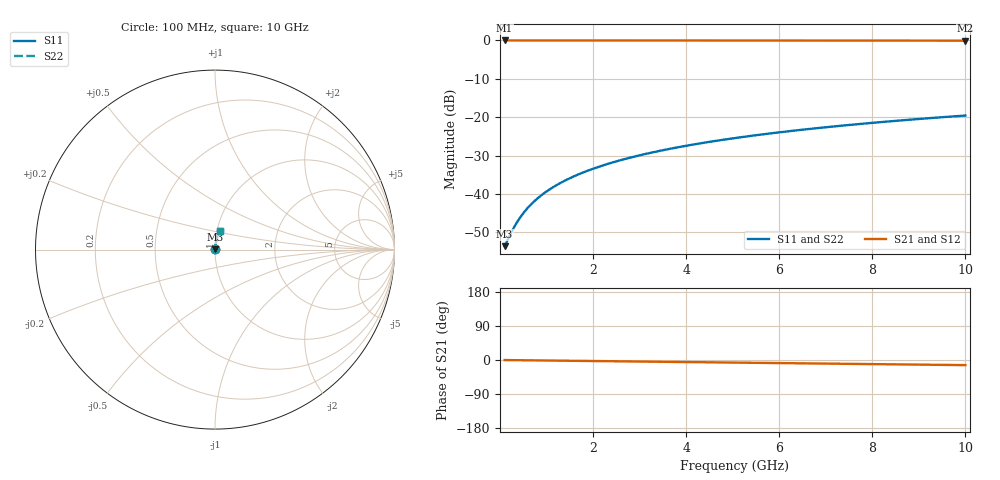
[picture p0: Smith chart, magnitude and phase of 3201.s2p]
# Hz S RI R 50.00
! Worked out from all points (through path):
!   100 points, 100 MHz to 10 GHz, reference 50 ohm
!   highest |S21| = -0.02 dB at 100 MHz (marker M1); lowest = -0.1 dB at 10 GHz (marker M2)
!   group delay of S21, straight-line fit = 3.76 ps
!   lowest |S11| = -53.6 dB at 100 MHz (marker M3), VSWR 1.00, Z = 50.2 + j0.106 ohm
!   |S11| at or under -10 dB: start of sweep to end of sweep
!   |S22| runs from -53.6 to -19.6 dB; largest |S21 - S12| = 0
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1e8  0.0018 0.00106  0.9982 -0.00236  0.9982 -0.00236  0.0018 0.00106
2e8  0.00182 0.00211  0.9982 -0.00472  0.9982 -0.00472  0.00182 0.00211
3e8  0.00184 0.00317  0.9981 -0.00708  0.9981 -0.00708  0.00184 0.00317
4e8  0.00187 0.00423  0.9981 -0.00944  0.9981 -0.00944  0.00187 0.00423
5e8  0.0019 0.00528  0.9981 -0.0118  0.9981 -0.0118  0.0019 0.00528
6e8  0.00193 0.00634  0.998 -0.0142  0.998 -0.0142  0.00193 0.00634
7e8  0.00196 0.0074  0.998 -0.0165  0.998 -0.0165  0.00196 0.0074
9e8  0.00205 0.00951  0.9979 -0.0212  0.9979 -0.0212  0.00205 0.00951
1e9  0.0021 0.0106  0.9978 -0.0236  0.9978 -0.0236  0.0021 0.0106
1.2e9  0.00222 0.0127  0.9976 -0.0283  0.9976 -0.0283  0.00222 0.0127
1.5e9  0.00243 0.0158  0.9974 -0.0354  0.9974 -0.0354  0.00243 0.0158
1.8e9  0.00268 0.019  0.997 -0.0424  0.997 -0.0424  0.00268 0.019
2.1e9  0.00298 0.0222  0.9966 -0.0495  0.9966 -0.0495  0.00298 0.0222
2.5e9  0.00345 0.0264  0.996 -0.0589  0.996 -0.0589  0.00345 0.0264
2.9e9  0.00399 0.0305  0.9953 -0.0683  0.9953 -0.0683  0.00399 0.0305
3.4e9  0.00479 0.0358  0.9942 -0.0801  0.9942 -0.0801  0.00479 0.0358
4.2e9  0.00631 0.0441  0.9921 -0.0988  0.9921 -0.0988  0.00631 0.0441
5.1e9  0.0084 0.0533  0.9893 -0.1199  0.9893 -0.1199  0.0084 0.0533
5.9e9  0.0106 0.0615  0.9864 -0.1385  0.9864 -0.1385  0.0106 0.0615
6.7e9  0.0131 0.0696  0.983 -0.157  0.983 -0.157  0.0131 0.0696
8.4e9  0.0194 0.0864  0.9745 -0.1961  0.9745 -0.1961  0.0194 0.0864
1e10  0.0265 0.1017  0.9648 -0.2324  0.9648 -0.2324  0.0265 0.1017
